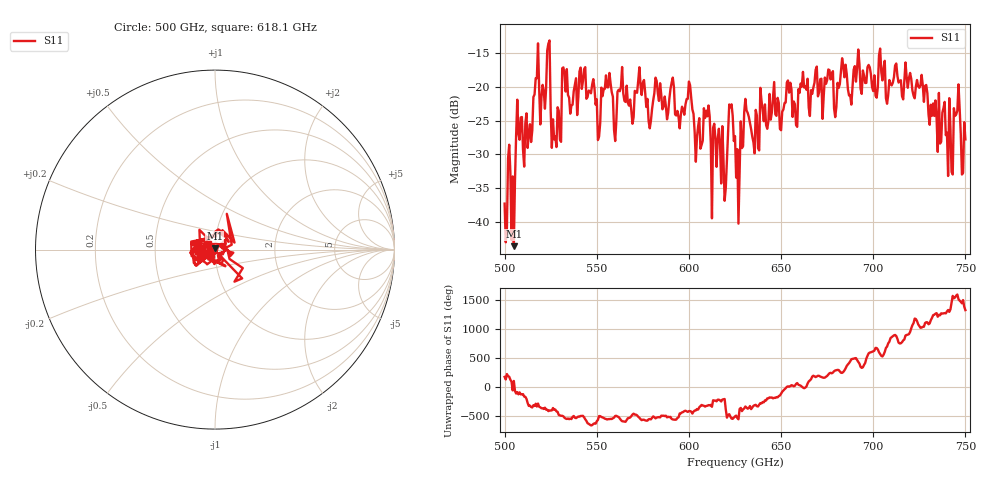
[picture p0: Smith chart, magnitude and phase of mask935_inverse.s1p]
!Created with skrf (http://scikit-rf.org).
# GHz S MA R 50.0
!freq magS11 angS11
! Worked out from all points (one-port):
!   401 points, 500 GHz to 750 GHz, reference 50 ohm
!   lowest |S11| = -43.6 dB at 505 GHz (marker M1), VSWR 1.01, Z = 49.9 + j0.648 ohm
!   |S11| at or under -10 dB: start of sweep to end of sweep
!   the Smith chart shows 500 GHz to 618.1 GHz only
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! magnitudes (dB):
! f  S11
! 500 GHz  -37.3
! 505 GHz  -43.6
! 507.5 GHz  -27.0
! 513.8 GHz  -25.5
! 516.9 GHz  -18.7
! 520.6 GHz  -19.7
! 523.8 GHz  -13.6
! 526.9 GHz  -27.8
! 531.2 GHz  -17.3
! 542.5 GHz  -19.2
! 550.6 GHz  -27.9
! 562.5 GHz  -20.7
! 590.6 GHz  -19.4
! 593.8 GHz  -23.6
! 609.4 GHz  -23.5
! 618.8 GHz  -30.8
! 622.5 GHz  -23.0
! 625 GHz  -27.3
! 626.2 GHz  -29.2
! 631.2 GHz  -23.5
! 634.4 GHz  -27.4
! 656.2 GHz  -24.5
! 676.9 GHz  -18.9
! 680 GHz  -23.0
! 683.8 GHz  -16.9
! 687.5 GHz  -21.2
! 718.8 GHz  -20.1
! 750 GHz  -27.8
